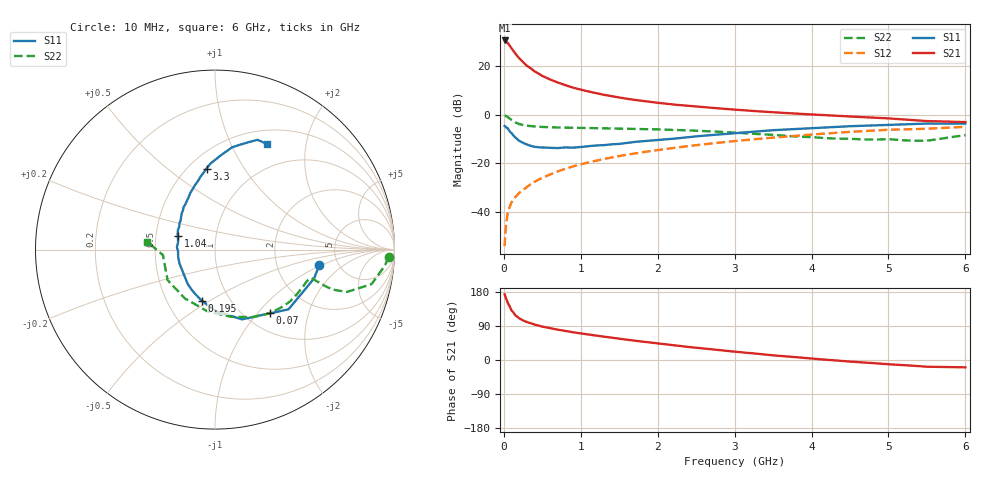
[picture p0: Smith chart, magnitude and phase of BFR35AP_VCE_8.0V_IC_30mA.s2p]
! Infineon Technologies  Discrete & RF Semiconductors
! BFR35AP
! VCE =  8.0 V,  IC =  30 mA
! Common Emitter S-Parameters:  Nov 2015
# GHz  S  MA  R  50
!  f  S11  S21  S12  S22
! GHz  MAG  ANG  MAG  ANG  MAG  ANG  MAG  ANG
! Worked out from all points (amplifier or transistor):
!   210 points, 10 MHz to 6 GHz, reference 50 ohm
!   highest |S21| = 30.4 dB at 10 MHz (marker M1)
!   |S21| within 3 dB of that: start of sweep to 95.2 MHz
!   unconditionally stable (mu >= 1): 342.8 MHz to 2.623 GHz
!   at 185 MHz: K = 0.81, MSG = 28.2 dB, |S12| = -32.6 dB
!   at 1.52 GHz: K = 1.11, MAG = 9.9 dB, |S12| = -16.9 dB
!   at 6 GHz: K = 0.93, MSG = 1.0 dB, |S12| = -5.0 dB
!   S11 on the Smith chart (normalised r, x): 10 MHz: 3.58, -0.94; 70 MHz: 1.28, -1.17; 195 MHz: 0.74, -0.46; 1.04 GHz: 0.65, +0.10; 3.3 GHz: 0.61, +0.69; 6 GHz: 0.67, +1.39
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0.01  0.5876 -8.4  33.26 173.4  0.002 85.4  0.9692 -2.5
0.02  0.5747 -16.3  32.7 167.2  0.0038 81.5  0.9505 -5.4
0.05  0.5278 -39.1  29.78 150.6  0.0095 76.1  0.8934 -12.4
0.07  0.4687 -49.3  26.72 143.9  0.012 72.2  0.844 -14.4
0.1  0.4168 -68.9  23.05 130.7  0.0159 68.7  0.7721 -17.8
0.15  0.3409 -89.9  17.81 117.7  0.0205 65.8  0.689 -18.8
0.195  0.2944 -104.0  14.65 110.8  0.0243 67.6  0.6461 -18.3
0.2  0.2905 -105.8  14.31 109.8  0.0247 67.8  0.6413 -18.2
0.24  0.2683 -115.2  12.33 105.4  0.0278 67.7  0.6167 -17.7
0.3  0.2443 -128.6  10.08 99.8  0.033 69.6  0.5918 -17.2
0.4  0.2187 -145.1  7.727 93.5  0.0419 71.4  0.571 -16.6
0.5  0.2125 -158.5  6.239 88.0  0.0505 72.0  0.558 -16.6
0.7  0.2058 -177.4  4.56 80.0  0.0683 73.1  0.5455 -18.1
1.02  0.2182 161.3  3.193 69.6  0.0972 71.8  0.5343 -21.8
1.04  0.22 160.3  3.14 69.0  0.099 71.7  0.5336 -22.1
1.4  0.2465 143.2  2.384 58.9  0.1319 69.4  0.5224 -27.4
2.02  0.3018 123.2  1.735 43.5  0.1893 64.3  0.4969 -38.5
3.1  0.4278 99.2  1.233 20.1  0.2968 53.0  0.4189 -63.8
3.3  0.453 96.0  1.172 16.4  0.317 50.6  0.3994 -70.0
4.1  0.5385 84.9  0.989 2.2  0.4003 40.5  0.3363 -101.6
5.1  0.6231 73.2  0.816 -12.4  0.4934 25.3  0.3047 -152.2
6  0.6561 63.6  0.704 -19.4  0.5616 13.6  0.3793 173.5
